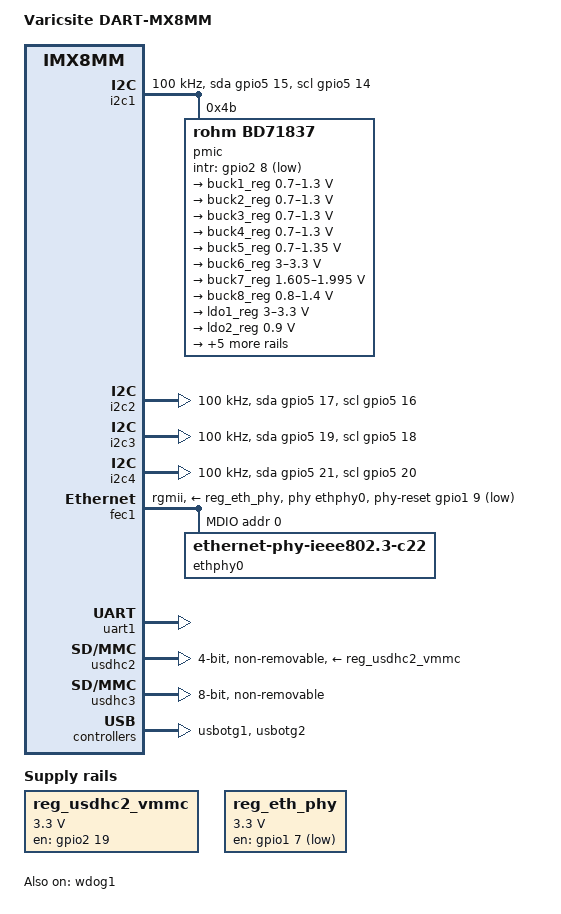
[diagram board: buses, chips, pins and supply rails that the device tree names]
/*
 * Copyright 2018 NXP
 * Copyright 2018-2020 Variscite Ltd.
 *
 * This program is free software; you can redistribute it and/or
 * modify it under the terms of the GNU General Public License
 * as published by the Free Software Foundation; either version 2
 * of the License, or (at your option) any later version.
 *
 * This program is distributed in the hope that it will be useful,
 * but WITHOUT ANY WARRANTY; without even the implied warranty of
 * MERCHANTABILITY or FITNESS FOR A PARTICULAR PURPOSE.  See the
 * GNU General Public License for more details.
 */

/dts-v1/;

#include "fsl-imx8mm.dtsi"

/ {
	model = "Varicsite DART-MX8MM";
	compatible = "variscite,imx8mm-var-dart", "fsl,imx8mm";

	chosen {
		bootargs = "console=ttymxc0,115200 earlycon=ec_imx6q,0x30860000,115200";
		stdout-path = &uart1;
	};

	reg_usdhc2_vmmc: regulator-usdhc2 {
		compatible = "regulator-fixed";
		regulator-name = "VSD_3V3";
		regulator-min-microvolt = <3300000>;
		regulator-max-microvolt = <3300000>;
		gpio = <&gpio2 19 GPIO_ACTIVE_HIGH>;
		enable-active-high;
		startup-delay-us = <100>;
		u-boot,off-on-delay-us = <12000>;
	};

	reg_eth_phy: regulator-eth-phy {
		compatible = "regulator-fixed";
		regulator-name = "eth_phy_pwr";
		regulator-min-microvolt = <3300000>;
		regulator-max-microvolt = <3300000>;
		gpio = <&gpio1 7 GPIO_ACTIVE_LOW>;
	};
};

&iomuxc {
	pinctrl-names = "default";

	imx8mm-var-dart {

		pinctrl_fec1: fec1grp {
			fsl,pins = <
				MX8MM_IOMUXC_ENET_MDC_ENET1_MDC			0x3
				MX8MM_IOMUXC_ENET_MDIO_ENET1_MDIO		0x3
				MX8MM_IOMUXC_ENET_TD3_ENET1_RGMII_TD3		0x1f
				MX8MM_IOMUXC_ENET_TD2_ENET1_RGMII_TD2		0x1f
				MX8MM_IOMUXC_ENET_TD1_ENET1_RGMII_TD1		0x1f
				MX8MM_IOMUXC_ENET_TD0_ENET1_RGMII_TD0		0x1f
				MX8MM_IOMUXC_ENET_RD3_ENET1_RGMII_RD3		0x91
				MX8MM_IOMUXC_ENET_RD2_ENET1_RGMII_RD2		0x91
				MX8MM_IOMUXC_ENET_RD1_ENET1_RGMII_RD1		0x91
				MX8MM_IOMUXC_ENET_RD0_ENET1_RGMII_RD0		0x91
				MX8MM_IOMUXC_ENET_TXC_ENET1_RGMII_TXC		0x1f
				MX8MM_IOMUXC_ENET_RXC_ENET1_RGMII_RXC		0x91
				MX8MM_IOMUXC_ENET_RX_CTL_ENET1_RGMII_RX_CTL	0x91
				MX8MM_IOMUXC_ENET_TX_CTL_ENET1_RGMII_TX_CTL	0x1f
				MX8MM_IOMUXC_GPIO1_IO09_GPIO1_IO9		0x19
				MX8MM_IOMUXC_GPIO1_IO07_GPIO1_IO7 		0x41
			>;
		};

		pinctrl_i2c1: i2c1grp {
			fsl,pins = <
				MX8MM_IOMUXC_I2C1_SCL_I2C1_SCL			0x400001c3
				MX8MM_IOMUXC_I2C1_SDA_I2C1_SDA			0x400001c3
			>;
		};

		pinctrl_i2c2: i2c2grp {
			fsl,pins = <
				MX8MM_IOMUXC_I2C2_SCL_I2C2_SCL			0x400001c3
				MX8MM_IOMUXC_I2C2_SDA_I2C2_SDA			0x400001c3
			>;
		};

		pinctrl_i2c3: i2c3grp {
			fsl,pins = <
				MX8MM_IOMUXC_I2C3_SCL_I2C3_SCL			0x400001c3
				MX8MM_IOMUXC_I2C3_SDA_I2C3_SDA			0x400001c3
			>;
		};

		pinctrl_i2c4: i2c4grp {
			fsl,pins = <
				MX8MM_IOMUXC_I2C4_SCL_I2C4_SCL			0x400001c3
				MX8MM_IOMUXC_I2C4_SDA_I2C4_SDA			0x400001c3
			>;
		};

		pinctrl_i2c1_gpio: i2c1grp-gpio {
			fsl,pins = <
				MX8MM_IOMUXC_I2C1_SCL_GPIO5_IO14		0x1c3
				MX8MM_IOMUXC_I2C1_SDA_GPIO5_IO15		0x1c3
			>;
		};

		pinctrl_i2c2_gpio: i2c2grp-gpio {
			fsl,pins = <
				MX8MM_IOMUXC_I2C2_SCL_GPIO5_IO16		0x1c3
				MX8MM_IOMUXC_I2C2_SDA_GPIO5_IO17		0x1c3
			>;
		};

		pinctrl_i2c3_gpio: i2c3grp-gpio {
			fsl,pins = <
				MX8MM_IOMUXC_I2C3_SCL_GPIO5_IO18		0x1c3
				MX8MM_IOMUXC_I2C3_SDA_GPIO5_IO19		0x1c3
			>;
		};

		pinctrl_i2c4_gpio: i2c4grp-gpio {
			fsl,pins = <
				MX8MM_IOMUXC_I2C4_SCL_GPIO5_IO20		0x1c3
				MX8MM_IOMUXC_I2C4_SDA_GPIO5_IO21		0x1c3
			>;
		};

		pinctrl_pmic: pmicirq {
			fsl,pins = <
				MX8MM_IOMUXC_SD1_DATA6_GPIO2_IO8		0x41
			>;
		};

		pinctrl_uart1: uart1grp {
			fsl,pins = <
				MX8MM_IOMUXC_UART1_RXD_UART1_DCE_RX		0x140
				MX8MM_IOMUXC_UART1_TXD_UART1_DCE_TX		0x140
			>;
		};

		pinctrl_usdhc2_gpio: usdhc2grpgpio {
			fsl,pins = <
				MX8MM_IOMUXC_SD2_RESET_B_GPIO2_IO19		0x41
			>;
		};

		pinctrl_usdhc2: usdhc2grp {
			fsl,pins = <
				MX8MM_IOMUXC_SD2_CLK_USDHC2_CLK			0x190
				MX8MM_IOMUXC_SD2_CMD_USDHC2_CMD			0x1d0
				MX8MM_IOMUXC_SD2_DATA0_USDHC2_DATA0		0x1d0
				MX8MM_IOMUXC_SD2_DATA1_USDHC2_DATA1		0x1d0
				MX8MM_IOMUXC_SD2_DATA2_USDHC2_DATA2		0x1d0
				MX8MM_IOMUXC_SD2_DATA3_USDHC2_DATA3		0x1d0
				MX8MM_IOMUXC_GPIO1_IO04_USDHC2_VSELECT		0x1d0
			>;
		};

		pinctrl_usdhc2_100mhz: usdhc2grp100mhz {
			fsl,pins = <
				MX8MM_IOMUXC_SD2_CLK_USDHC2_CLK			0x194
				MX8MM_IOMUXC_SD2_CMD_USDHC2_CMD			0x1d4
				MX8MM_IOMUXC_SD2_DATA0_USDHC2_DATA0		0x1d4
				MX8MM_IOMUXC_SD2_DATA1_USDHC2_DATA1		0x1d4
				MX8MM_IOMUXC_SD2_DATA2_USDHC2_DATA2		0x1d4
				MX8MM_IOMUXC_SD2_DATA3_USDHC2_DATA3		0x1d4
				MX8MM_IOMUXC_GPIO1_IO04_USDHC2_VSELECT		0x1d0
			>;
		};

		pinctrl_usdhc2_200mhz: usdhc2grp200mhz {
			fsl,pins = <
				MX8MM_IOMUXC_SD2_CLK_USDHC2_CLK			0x196
				MX8MM_IOMUXC_SD2_CMD_USDHC2_CMD			0x1d6
				MX8MM_IOMUXC_SD2_DATA0_USDHC2_DATA0		0x1d6
				MX8MM_IOMUXC_SD2_DATA1_USDHC2_DATA1		0x1d6
				MX8MM_IOMUXC_SD2_DATA2_USDHC2_DATA2		0x1d6
				MX8MM_IOMUXC_SD2_DATA3_USDHC2_DATA3		0x1d6
				MX8MM_IOMUXC_GPIO1_IO04_USDHC2_VSELECT		0x1d0
			>;
		};

		pinctrl_usdhc3: usdhc3grp {
			fsl,pins = <
				MX8MM_IOMUXC_NAND_WE_B_USDHC3_CLK		0x40000190
				MX8MM_IOMUXC_NAND_WP_B_USDHC3_CMD		0x1d0
				MX8MM_IOMUXC_NAND_DATA04_USDHC3_DATA0		0x1d0
				MX8MM_IOMUXC_NAND_DATA05_USDHC3_DATA1		0x1d0
				MX8MM_IOMUXC_NAND_DATA06_USDHC3_DATA2		0x1d0
				MX8MM_IOMUXC_NAND_DATA07_USDHC3_DATA3		0x1d0
				MX8MM_IOMUXC_NAND_RE_B_USDHC3_DATA4		0x1d0
				MX8MM_IOMUXC_NAND_CE2_B_USDHC3_DATA5		0x1d0
				MX8MM_IOMUXC_NAND_CE3_B_USDHC3_DATA6		0x1d0
				MX8MM_IOMUXC_NAND_CLE_USDHC3_DATA7		0x1d0
				MX8MM_IOMUXC_NAND_CE1_B_USDHC3_STROBE 		0x190
			>;
		};

		pinctrl_usdhc3_100mhz: usdhc3grp100mhz {
			fsl,pins = <
				MX8MM_IOMUXC_NAND_WE_B_USDHC3_CLK		0x40000194
				MX8MM_IOMUXC_NAND_WP_B_USDHC3_CMD		0x1d4
				MX8MM_IOMUXC_NAND_DATA04_USDHC3_DATA0		0x1d4
				MX8MM_IOMUXC_NAND_DATA05_USDHC3_DATA1		0x1d4
				MX8MM_IOMUXC_NAND_DATA06_USDHC3_DATA2		0x1d4
				MX8MM_IOMUXC_NAND_DATA07_USDHC3_DATA3		0x1d4
				MX8MM_IOMUXC_NAND_RE_B_USDHC3_DATA4		0x1d4
				MX8MM_IOMUXC_NAND_CE2_B_USDHC3_DATA5		0x1d4
				MX8MM_IOMUXC_NAND_CE3_B_USDHC3_DATA6		0x1d4
				MX8MM_IOMUXC_NAND_CLE_USDHC3_DATA7		0x1d4
				MX8MM_IOMUXC_NAND_CE1_B_USDHC3_STROBE 		0x194
			>;
		};

		pinctrl_usdhc3_200mhz: usdhc3grp200mhz {
			fsl,pins = <
				MX8MM_IOMUXC_NAND_WE_B_USDHC3_CLK		0x40000196
				MX8MM_IOMUXC_NAND_WP_B_USDHC3_CMD		0x1d6
				MX8MM_IOMUXC_NAND_DATA04_USDHC3_DATA0		0x1d6
				MX8MM_IOMUXC_NAND_DATA05_USDHC3_DATA1		0x1d6
				MX8MM_IOMUXC_NAND_DATA06_USDHC3_DATA2		0x1d6
				MX8MM_IOMUXC_NAND_DATA07_USDHC3_DATA3		0x1d6
				MX8MM_IOMUXC_NAND_RE_B_USDHC3_DATA4		0x1d6
				MX8MM_IOMUXC_NAND_CE2_B_USDHC3_DATA5		0x1d6
				MX8MM_IOMUXC_NAND_CE3_B_USDHC3_DATA6		0x1d6
				MX8MM_IOMUXC_NAND_CLE_USDHC3_DATA7		0x1d6
				MX8MM_IOMUXC_NAND_CE1_B_USDHC3_STROBE 		0x196
			>;
		};

		pinctrl_wdog: wdoggrp {
			fsl,pins = <
				MX8MM_IOMUXC_GPIO1_IO02_WDOG1_WDOG_B		0xc6
			>;
		};
	};
};

&i2c1 {
	clock-frequency = <100000>;
	pinctrl-names = "default", "gpio";
	pinctrl-0 = <&pinctrl_i2c1>;
	pinctrl-1 = <&pinctrl_i2c1_gpio>;
	scl-gpios = <&gpio5 14 GPIO_ACTIVE_HIGH>;
	sda-gpios = <&gpio5 15 GPIO_ACTIVE_HIGH>;
	u-boot,dm-pre-reloc;
	status = "okay";

	pmic: bd71837@4b {
		reg = <0x4b>;
		compatible = "rohm,bd71837";
		/* PMIC BD71837 PMIC_nINT GPIO1_IO3 */
		pinctrl-0 = <&pinctrl_pmic>;
		gpio_intr = <&gpio2 8 GPIO_ACTIVE_LOW>;

		gpo {
			rohm,drv = <0x0C>;	/* 0b0000_1100 all gpos with cmos output mode */
		};

		regulators {
			#address-cells = <1>;
			#size-cells = <0>;

			bd71837,pmic-buck2-uses-i2c-dvs;
			bd71837,pmic-buck2-dvs-voltage = <1000000>, <900000>, <0>; /* VDD_ARM: Run-Idle */

			buck1_reg: regulator@0 {
				reg = <0>;
				regulator-compatible = "buck1";
				regulator-min-microvolt = <700000>;
				regulator-max-microvolt = <1300000>;
				regulator-boot-on;
				regulator-always-on;
				regulator-ramp-delay = <1250>;
			};

			buck2_reg: regulator@1 {
				reg = <1>;
				regulator-compatible = "buck2";
				regulator-min-microvolt = <700000>;
				regulator-max-microvolt = <1300000>;
				regulator-boot-on;
				regulator-always-on;
				regulator-ramp-delay = <1250>;
			};

			buck3_reg: regulator@2 {
				reg = <2>;
				regulator-compatible = "buck3";
				regulator-min-microvolt = <700000>;
				regulator-max-microvolt = <1300000>;
			};

			buck4_reg: regulator@3 {
				reg = <3>;
				regulator-compatible = "buck4";
				regulator-min-microvolt = <700000>;
				regulator-max-microvolt = <1300000>;
			};

			buck5_reg: regulator@4 {
				reg = <4>;
				regulator-compatible = "buck5";
				regulator-min-microvolt = <700000>;
				regulator-max-microvolt = <1350000>;
				regulator-boot-on;
				regulator-always-on;
			};

			buck6_reg: regulator@5 {
				reg = <5>;
				regulator-compatible = "buck6";
				regulator-min-microvolt = <3000000>;
				regulator-max-microvolt = <3300000>;
				regulator-boot-on;
				regulator-always-on;
			};

			buck7_reg: regulator@6 {
				reg = <6>;
				regulator-compatible = "buck7";
				regulator-min-microvolt = <1605000>;
				regulator-max-microvolt = <1995000>;
				regulator-boot-on;
				regulator-always-on;
			};

			buck8_reg: regulator@7 {
				reg = <7>;
				regulator-compatible = "buck8";
				regulator-min-microvolt = <800000>;
				regulator-max-microvolt = <1400000>;
				regulator-boot-on;
				regulator-always-on;
			};

			ldo1_reg: regulator@8 {
				reg = <8>;
				regulator-compatible = "ldo1";
				regulator-min-microvolt = <3000000>;
				regulator-max-microvolt = <3300000>;
				regulator-boot-on;
				regulator-always-on;
			};

			ldo2_reg: regulator@9 {
				reg = <9>;
				regulator-compatible = "ldo2";
				regulator-min-microvolt = <900000>;
				regulator-max-microvolt = <900000>;
				regulator-boot-on;
				regulator-always-on;
			};

			ldo3_reg: regulator@10 {
				reg = <10>;
				regulator-compatible = "ldo3";
				regulator-min-microvolt = <1800000>;
				regulator-max-microvolt = <3300000>;
				regulator-boot-on;
				regulator-always-on;
			};

			ldo4_reg: regulator@11 {
				reg = <11>;
				regulator-compatible = "ldo4";
				regulator-min-microvolt = <900000>;
				regulator-max-microvolt = <1800000>;
				regulator-boot-on;
				regulator-always-on;
			};

			ldo5_reg: regulator@12 {
				reg = <12>;
				regulator-compatible = "ldo5";
				regulator-min-microvolt = <1800000>;
				regulator-max-microvolt = <3300000>;
			};

			ldo6_reg: regulator@13 {
				reg = <13>;
				regulator-compatible = "ldo6";
				regulator-min-microvolt = <900000>;
				regulator-max-microvolt = <1800000>;
				regulator-boot-on;
				regulator-always-on;
			};

			ldo7_reg: regulator@14 {
				reg = <14>;
				regulator-compatible = "ldo7";
				regulator-min-microvolt = <1800000>;
				regulator-max-microvolt = <3300000>;
			};
		};
	};
};

&i2c2 {
	clock-frequency = <100000>;
	pinctrl-names = "default", "gpio";
	pinctrl-0 = <&pinctrl_i2c2>;
	pinctrl-1 = <&pinctrl_i2c2_gpio>;
	scl-gpios = <&gpio5 16 GPIO_ACTIVE_HIGH>;
	sda-gpios = <&gpio5 17 GPIO_ACTIVE_HIGH>;
	status = "okay";
};

&i2c3 {
	clock-frequency = <100000>;
	pinctrl-names = "default", "gpio";
	pinctrl-0 = <&pinctrl_i2c3>;
	pinctrl-1 = <&pinctrl_i2c3_gpio>;
	scl-gpios = <&gpio5 18 GPIO_ACTIVE_HIGH>;
	sda-gpios = <&gpio5 19 GPIO_ACTIVE_HIGH>;
	status = "okay";
};

&i2c4 {
	clock-frequency = <100000>;
	pinctrl-names = "default", "gpio";
	pinctrl-0 = <&pinctrl_i2c4>;
	pinctrl-1 = <&pinctrl_i2c4_gpio>;
	scl-gpios = <&gpio5 20 GPIO_ACTIVE_HIGH>;
	sda-gpios = <&gpio5 21 GPIO_ACTIVE_HIGH>;
	status = "okay";
};

&fec1 {
	pinctrl-names = "default";
	pinctrl-0 = <&pinctrl_fec1>;
	phy-mode = "rgmii";
	phy-handle = <&ethphy0>;
	phy-supply = <&reg_eth_phy>;
	phy-reset-gpios = <&gpio1 9 GPIO_ACTIVE_LOW>;
	phy-reset-duration = <10>;
	fsl,magic-packet;
	status = "okay";

	mdio {
		#address-cells = <1>;
		#size-cells = <0>;

		ethphy0: ethernet-phy@0 {
			compatible = "ethernet-phy-ieee802.3-c22";
			reg = <0>;
			at803x,led-act-blind-workaround;
			at803x,eee-okay;
			at803x,vddio-1p8v;
		};
	};
};

&uart1 { /* console */
	pinctrl-names = "default";
	pinctrl-0 = <&pinctrl_uart1>;
	status = "okay";
};

&usdhc2 {
	pinctrl-names = "default", "state_100mhz", "state_200mhz";
	pinctrl-0 = <&pinctrl_usdhc2>, <&pinctrl_usdhc2_gpio>;
	pinctrl-1 = <&pinctrl_usdhc2_100mhz>, <&pinctrl_usdhc2_gpio>;
	pinctrl-2 = <&pinctrl_usdhc2_200mhz>, <&pinctrl_usdhc2_gpio>;
	bus-width = <4>;
	non-removable;
	vmmc-supply = <&reg_usdhc2_vmmc>;
	status = "okay";
};

&usdhc3 {
	pinctrl-names = "default", "state_100mhz", "state_200mhz";
	pinctrl-0 = <&pinctrl_usdhc3>;
	pinctrl-1 = <&pinctrl_usdhc3_100mhz>;
	pinctrl-2 = <&pinctrl_usdhc3_200mhz>;
	bus-width = <8>;
	non-removable;
	status = "okay";
};

&wdog1 {
	pinctrl-names = "default";
	pinctrl-0 = <&pinctrl_wdog>;
	fsl,ext-reset-output;
	status = "okay";
};

&A53_0 {
	arm-supply = <&buck2_reg>;
};

&usbotg1 {
	status = "okay";
};

&usbotg2 {
	status = "okay";
};

&gpio5 {
	u-boot,dm-pre-reloc;
};
